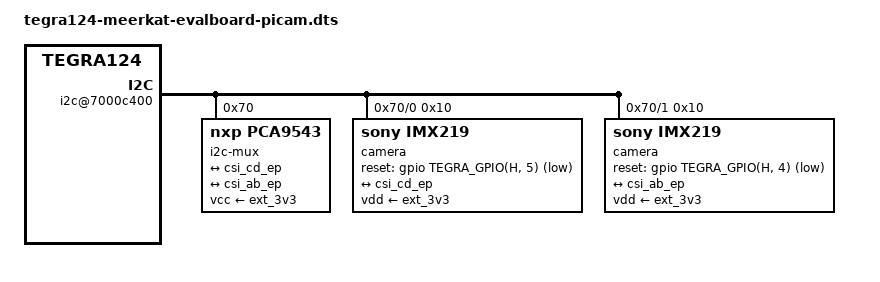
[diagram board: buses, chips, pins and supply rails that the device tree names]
#include "tegra124-meerkat-evalboard.dts"

/ {
	nvidia,dtsfilename = __FILE__;

	host1x {
		vi {
			port@0 {
				csi_ab_ep: endpoint@0 {
					remote-endpoint = <&cam_csi_a>;
				};
			};

			port@1 {
				csi_cd_ep: endpoint@0 {
					remote-endpoint = <&cam_csi_b>;
				};
			};
		};
	};

	i2c@7000c400 {
		status = "okay";

		i2c-mux@70 {
			compatible = "nxp,pca9543";
			#address-cells = <1>;
			#size-cells = <0>;
			reg = <0x70>;
			vcc-supply = <&ext_3v3>;

			i2c@0 {
				#address-cells = <1>;
				#size-cells = <0>;
				reg = <0>;

				camera@10 {
					compatible = "sony,imx219";
					reg = <0x10>;

					vdd-supply = <&ext_3v3>;

					reset-gpio = <&gpio TEGRA_GPIO(H, 5) GPIO_ACTIVE_LOW>;

					port {
						cam_csi_b: endpoint {
							remote-endpoint = <&csi_cd_ep>;
						};
					};
				};
			};

			i2c@1 {
				#address-cells = <1>;
				#size-cells = <0>;
				reg = <1>;

				camera@10 {
					compatible = "sony,imx219";
					reg = <0x10>;

					vdd-supply = <&ext_3v3>;

					reset-gpio = <&gpio TEGRA_GPIO(H, 4) GPIO_ACTIVE_LOW>;

					port {
						cam_csi_a: endpoint {
							remote-endpoint = <&csi_ab_ep>;
						};
					};
				};
			};
		};
	};
};
